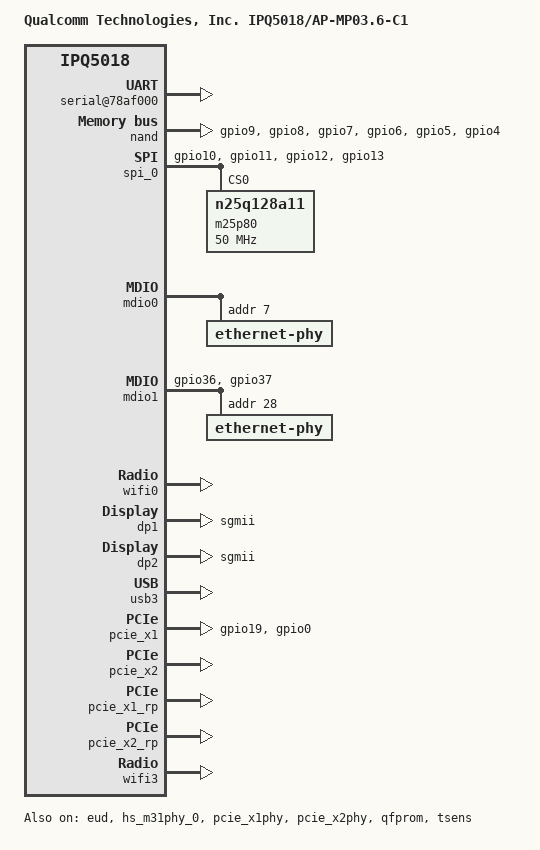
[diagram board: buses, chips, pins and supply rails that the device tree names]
/dts-v1/;
/* Copyright (c) 2018-2020, The Linux Foundation. All rights reserved.
 *
 * Permission to use, copy, modify, and/or distribute this software for any
 * purpose with or without fee is hereby granted, provided that the above
 * copyright notice and this permission notice appear in all copies.
 *
 * THE SOFTWARE IS PROVIDED "AS IS" AND THE AUTHOR DISCLAIMS ALL WARRANTIES
 * WITH REGARD TO THIS SOFTWARE INCLUDING ALL IMPLIED WARRANTIES OF
 * MERCHANTABILITY AND FITNESS. IN NO EVENT SHALL THE AUTHOR BE LIABLE FOR
 * ANY SPECIAL, DIRECT, INDIRECT, OR CONSEQUENTIAL DAMAGES OR ANY DAMAGES
 * WHATSOEVER RESULTING FROM LOSS OF USE, DATA OR PROFITS, WHETHER IN AN
 * ACTION OF CONTRACT, NEGLIGENCE OR OTHER TORTIOUS ACTION, ARISING OUT OF
 * OR IN CONNECTION WITH THE USE OR PERFORMANCE OF THIS SOFTWARE.
 */

#include "qcom-ipq5018.dtsi"

/ {
	#address-cells = <0x2>;
	#size-cells = <0x2>;
	model = "Qualcomm Technologies, Inc. IPQ5018/AP-MP03.6-C1";
	compatible = "qcom,ipq5018-mp03.6-c1", "qcom,ipq5018";
	interrupt-parent = <&intc>;

	aliases {
		sdhc1 = &sdhc_1; /* SDC1 eMMC slot */
		serial0 = &blsp1_uart1;
		serial1 = &blsp1_uart2;
	};

	chosen {
		bootargs = "console=ttyMSM0,115200,n8 rw init=/init";
	#ifdef __IPQ_MEM_PROFILE_256_MB__
		bootargs-append = " swiotlb=1";
	#else
		bootargs-append = " swiotlb=1 coherent_pool=2M";
	#endif
		stdout-path = "serial0";
		ethernet0 = "/soc/dp1";
		ethernet1 = "/soc/dp2";
	};

	reserved-memory {
	#ifdef __IPQ_MEM_PROFILE_256_MB__
	/*            256 MB Profile
	 * +=========+==============+========================+
	 * |        |              |                         |
	 * | Region | Start Offset |          Size           |
	 * |        |              |                         |
	 * +--------+--------------+-------------------------+
	 * |        |              |                         |
	 * |        |              |                         |
	 * |  NSS   |  0x40000000  |          8MB            |
	 * |        |              |                         |
	 * |        |              |                         |
	 * +--------+--------------+-------------------------+
	 * |        |              |                         |
	 * |        |              |                         |
	 * |        |              |                         |
	 * |        |              |                         |
	 * | Linux  |  0x40800000  | Depends on total memory |
	 * |        |              |                         |
	 * |        |              |                         |
	 * |        |              |                         |
	 * +        |              |                         |
	 * +--------+--------------+-------------------------+
	 * |        |              |                         |
	 * | uboot  |  0x4A600000  |           4MB           |
	 * |        |              |                         |
	 * +--------+--------------+-------------------------+
	 * |  SBL   |  0x4AA00000  |           1MB           |
	 * +--------+--------------+-------------------------+
	 * |  smem  |  0x4AB00000  |           1MB           |
	 * +--------+--------------+-------------------------+
	 * |        |              |                         |
	 * |   TZ   |  0x4AC00000  |           4MB           |
	 * |        |              |                         |
	 * +--------+--------------+-------------------------+
	 * |        |              |                         |
	 * |        |              |                         |
	 * |        |              |                         |
	 * |   Q6   |  0x4B000000  |          23MB           |
	 * |        |              |                         |
	 * |        |              |                         |
	 * |        |              |                         |
	 * +--------+--------------+-------------------------+
	 * | M3 Dump| 0x4C700000   |          1MB            |
	 * +--------+--------------+-------------------------+
	 * | QDSS   | 0x4C800000   |          1MB            |
	 * +--------+--------------+-------------------------+
	 * |        |              |                         |
	 * |QCN9000 |  0x4C900000  |          17MB           |
	 * |        |              |                         |
	 * +--------+--------------+-------------------------+
	 * |        |              |                         |
	 * |  MHI1  |  0x4DA00000  |          16MB           |
	 * |        |              |                         |
	 * +--------+--------------+-------------------------+
	 * |                                                 |
	 * |      Rest of the memory for Linux               |
	 * |                                                 |
	 * +=================================================+
	 */
		q6_region: wcnss@4b000000 {
			no-map;
			reg = <0x0 0x4b000000 0x0 0x01700000>;
		};

		m3_dump@4c700000 {
			no-map;
			reg = <0x0 0x4C700000 0x0 0x100000>;
		};

		q6_etr_region:q6_etr_dump@4c800000 {
			no-map;
			reg = <0x0 0x4c800000 0x0 0x100000>;
		};

		qcn9000_pcie0@4c900000 {
			no-map;
			reg = <0x0 0x4C900000 0x0 0x01100000>;
		};

		mhi_region1: dma_pool1@4da00000 {
			compatible = "shared-dma-pool";
			no-map;
			reg = <0x0 0x4da00000 0x0 0x01000000>;
		};
	#else
	/*                      512 MB Profile
	 * +=========+==============+========================+
	 * |        |              |                         |
	 * | Region | Start Offset |          Size           |
	 * |        |              |                         |
	 * +--------+--------------+-------------------------+
	 * |        |              |                         |
	 * |        |              |                         |
	 * |  NSS   |  0x40000000  |          16MB           |
	 * |        |              |                         |
	 * |        |              |                         |
	 * +--------+--------------+-------------------------+
	 * |        |              |                         |
	 * |        |              |                         |
	 * |        |              |                         |
	 * |        |              |                         |
	 * | Linux  |  0x41000000  | Depends on total memory |
	 * |        |              |                         |
	 * |        |              |                         |
	 * |        |              |                         |
	 * |        |              |                         |
	 * +--------+--------------+-------------------------+
	 * |        |              |                         |
	 * | uboot  |  0x4A600000  |           4MB           |
	 * |        |              |                         |
	 * +--------+--------------+-------------------------+
	 * |  SBL   |  0x4AA00000  |           1MB           |
	 * +--------+--------------+-------------------------+
	 * |  smem  |  0x4AB00000  |           1MB           |
	 * +--------+--------------+-------------------------+
	 * |        |              |                         |
	 * |   TZ   |  0x4AC00000  |           4MB           |
	 * |        |              |                         |
	 * +--------+--------------+-------------------------+
	 * |        |              |                         |
	 * |        |              |                         |
	 * |        |              |                         |
	 * |   Q6   |  0x4B000000  |          24MB           |
	 * |        |              |                         |
	 * |        |              |                         |
	 * +--------+--------------+-------------------------+
	 * | M3 Dump|  0x4C800000  |           1MB           |
	 * +--------+--------------+-------------------------+
	 * |  QDSS  |  0x4C900000  |           1MB           |
	 * +--------+--------------+-------------------------+
	 * | caldb  |  0x4CA00000  |           2MB           |
	 * +--------+--------------+-------------------------+
	 * |        |              |                         |
	 * |QCN9000 |  0x4CC00000  |          30MB           |
	 * |        |              |                         |
	 * +--------+--------------+-------------------------+
	 * |        |              |                         |
	 * |  MHI1  |  0x4EA00000  |          16MB           |
	 * |        |              |                         |
	 * +--------+--------------+-------------------------+
	 * |                                                 |
	 * |      Rest of the memory for Linux               |
	 * |                                                 |
	 * +=================================================+
	 */
		q6_region: wcnss@4b000000 {
			no-map;
			reg = <0x0 0x4b000000 0x0 0x01800000>;
		};

		m3_dump@4c800000 {
			no-map;
			reg = <0x0 0x4c800000 0x0 0x100000>;
		};

		q6_etr_region:q6_etr_dump@4c900000 {
			no-map;
			reg = <0x0 0x4c900000 0x0 0x100000>;
		};

		q6_caldb_region:q6_caldb_region@4ca00000 {
			no-map;
			reg = <0x0 0x4ca00000 0x0 0x200000>;
		};

		qcn9000_pcie0@4cc00000 {
			no-map;
			reg = <0x0 0x4CC00000 0x0 0x01E00000>;
		};

		mhi_region1: dma_pool1@4ea00000 {
			compatible = "shared-dma-pool";
			no-map;
			reg = <0x0 0x4ea00000 0x0 0x01000000>;
		};
	#endif
	};

	soc {
		serial@78af000 {
			status = "ok";
		};

		qpic_bam: dma@7984000{
			status = "ok";
		};

		nand: qpic-nand@79b0000 {
			pinctrl-0 = <&qspi_nand_pins>;
			pinctrl-names = "default";
			status = "ok";
		};

		spi_0: spi@78b5000 { /* BLSP1 QUP0 */
			pinctrl-0 = <&blsp0_spi_pins>;
			pinctrl-names = "default";
			cs-select = <0>;
			status = "ok";

			m25p80@0 {
				#address-cells = <1>;
				#size-cells = <1>;
				reg = <0>;
				compatible = "n25q128a11";
				linux,modalias = "m25p80", "n25q128a11";
				spi-max-frequency = <50000000>;
				use-default-sizes;
			};
		};

		mdio0: mdio@88000 {
			status = "ok";

			ethernet-phy@0 {
				reg = <7>;
			};
		};

		mdio1: mdio@90000 {
			status = "ok";
			pinctrl-0 = <&mdio1_pins>;
			pinctrl-names = "default";
			phy-reset-gpio = <&tlmm 39 0>;

			ethernet-phy@0 {
				reg = <28>;
			};
		};

		ess-instance {
			num_devices = <0x1>;
			ess-switch@0x39c00000 {
				switch_mac_mode = <0xf>; /* mac mode for uniphy instance*/
				cmnblk_clk = "internal_96MHz"; /* cmnblk clk*/
				qcom,port_phyinfo {
					port@0 {
						port_id = <1>;
						phy_address = <7>;
						mdiobus = <&mdio0>;
					};
					port@1 {
						port_id = <2>;
						phy_address = <0x1c>;
						mdiobus = <&mdio1>;
						port_mac_sel = "QGMAC_PORT";
					};
				};
				led_source@0 {
					source = <0>;
					mode = "normal";
					speed = "all";
					blink_en = "enable";
					active = "high";
				};
			};
		};

		wifi0: wifi@c000000 {
			status = "ok";
		};

		dp1 {
			device_type = "network";
			compatible = "qcom,nss-dp";
			clocks = <&gcc GCC_SNOC_GMAC0_AXI_CLK>;
			clock-names = "nss-snoc-gmac-axi-clk";
			qcom,id = <1>;
			reg = <0x39C00000 0x10000>;
			interrupts = <GIC_SPI 101 IRQ_TYPE_LEVEL_HIGH>;
			qcom,mactype = <2>;
			qcom,link-poll = <1>;
			qcom,phy-mdio-addr = <7>;
			mdio-bus = <&mdio0>;
			local-mac-address = [000000000000];
			phy-mode = "sgmii";
		};

		dp2 {
			device_type = "network";
			compatible = "qcom,nss-dp";
			clocks = <&gcc GCC_SNOC_GMAC1_AXI_CLK>;
			clock-names = "nss-snoc-gmac-axi-clk";
			qcom,id = <2>;
			reg = <0x39D00000 0x10000>;
			interrupts = <GIC_SPI 109 IRQ_TYPE_LEVEL_HIGH>;
			qcom,mactype = <2>;
			qcom,link-poll = <1>;
			qcom,phy-mdio-addr = <28>;
			mdio-bus = <&mdio1>;
			local-mac-address = [000000000000];
			phy-mode = "sgmii";
		};

		qcom,test@0 {
			status = "ok";
		};

		nss-macsec1 {
			compatible = "qcom,nss-macsec";
			phy_addr = <0x1c>;
			mdiobus = <&mdio1>;
		};

		lpass: lpass@0xA000000{
			status = "disabled";
		};

		pcm: pcm@0xA3C0000{
			pinctrl-0 = <&audio_pins>;
			pinctrl-names = "default";
			status = "disabled";
		};

		pcm_lb: pcm_lb@0 {
			status = "disabled";
		};

	};

	thermal-zones {
		status = "ok";
	};
};

&tlmm {
	pinctrl-0 = <&blsp0_uart_pins &pcie_sdx_gpio>;
	pinctrl-names = "default";

	blsp0_uart_pins: uart_pins {
		blsp0_uart_rx_tx {
			pins = "gpio20", "gpio21";
			function = "blsp0_uart0";
			bias-disable;
		};
	};

	blsp0_spi_pins: blsp0_spi_pins {
		mux {
			pins = "gpio10", "gpio11", "gpio12", "gpio13";
			function = "blsp0_spi";
			drive-strength = <2>;
			bias-disable;
		};
	};

	qspi_nand_pins: qspi_nand_pins {
		qspi_clock {
			pins = "gpio9";
			function = "qspi_clk";
			drive-strength = <8>;
			bias-disable;
		};
		qspi_cs {
			pins = "gpio8";
			function = "qspi_cs";
			drive-strength = <8>;
			bias-disable;
		};
		qspi_data_0 {
			pins = "gpio7";
			function = "qspi0";
			drive-strength = <8>;
			bias-disable;
		};
		qspi_data_1 {
			pins = "gpio6";
			function = "qspi1";
			drive-strength = <8>;
			bias-disable;
		};
		qspi_data_2 {
			pins = "gpio5";
			function = "qspi2";
			drive-strength = <8>;
			bias-disable;
		};
		qspi_data_3 {
			pins = "gpio4";
			function = "qspi3";
			drive-strength = <8>;
			bias-disable;
		};
	};

	mdio1_pins: mdio_pinmux {
		mux_0 {
			pins = "gpio36";
			function = "mdc";
			drive-strength = <8>;
			bias-pull-up;
		};

		mux_1 {
			pins = "gpio37";
			function = "mdio";
			drive-strength = <8>;
			bias-pull-up;
		};
	};

	pcie_sdx_gpio: pcie_sdx_gpio {
		ap2mdm_err_ftl {
			pins = "gpio1";
			function = "gpio";
			drive-strength = <8>;
			bias-pull-down;
		};
		sdx_pon_gpio {
			pins = "gpio26";
			function = "gpio";
			drive-strength = <8>;
			bias-pull-up;
			output-high;
		};
		ap2mdm_gp_rst_n {
			pins = "gpio28";
			function = "gpio";
			drive-strength = <8>;
			output-high;
		};
	};

	ap2mdm_status: ap2mdm_status {
		pins = "gpio25";
		function = "gpio";
		drive-strength = <8>;
		bias-pull-up;
		output-high;
	};

	mdm2ap_e911_status: mdm2ap_e911_status {
		pins = "gpio0";
		drive-strength = <8>;
		bias-pull-down;
	};

	pcie_wake_pins: pcie1_wake_gpio {
		pins = "gpio19";
		function = "pcie1_wake";
		drive-strength = <8>;
		bias-pull-up;
	};

	audio_pins: audio_pinmux {
		mux_1 {
			pins = "gpio24";
			function = "audio_rxbclk";
			drive-strength = <8>;
			bias-pull-down;
		};

		mux_2 {
			pins = "gpio25";
			function = "audio_rxfsync";
			drive-strength = <8>;
			bias-pull-down;
		};

		mux_3 {
			pins = "gpio26";
			function = "audio_rxd";
			drive-strength = <8>;
			bias-pull-down;
		};

		mux_4 {
			pins = "gpio27";
			function = "audio_txmclk";
			drive-strength = <8>;
			bias-pull-down;
		};

		mux_5 {
			pins = "gpio28";
			function = "audio_txbclk";
			drive-strength = <8>;
			bias-pull-down;
		};

		mux_6 {
			pins = "gpio29";
			function = "audio_txfsync";
			drive-strength = <8>;
			bias-pull-down;
		};

		mux_7 {
			pins = "gpio30";
			function = "audio_txd";
			drive-strength = <8>;
			bias-pull-down;
		};
	};

};

&usb3 {
	status = "ok";
	device-power-gpio = <&tlmm 24 1>;
};

&eud {
	status = "ok";
};

&pcie_x1 {
	interrupts-extended = <&intc GIC_SPI 111 IRQ_TYPE_NONE>,
			<&intc 0 416 IRQ_TYPE_NONE>, <&intc 0 417 IRQ_TYPE_NONE>,
			<&intc 0 418 IRQ_TYPE_NONE>, <&intc 0 419 IRQ_TYPE_NONE>,
			<&intc 0 420 IRQ_TYPE_NONE>, <&intc 0 421 IRQ_TYPE_NONE>,
			<&intc 0 422 IRQ_TYPE_NONE>, <&intc 0 423 IRQ_TYPE_NONE>,
			<&intc 0 424 IRQ_TYPE_NONE>, <&intc 0 425 IRQ_TYPE_NONE>,
			<&intc 0 426 IRQ_TYPE_NONE>, <&intc 0 427 IRQ_TYPE_NONE>,
			<&intc 0 428 IRQ_TYPE_NONE>, <&intc 0 429 IRQ_TYPE_NONE>,
			<&intc 0 430 IRQ_TYPE_NONE>, <&intc 0 431 IRQ_TYPE_NONE>,
			<&intc 0 432 IRQ_TYPE_NONE>, <&intc 0 433 IRQ_TYPE_NONE>,
			<&intc 0 434 IRQ_TYPE_NONE>, <&intc 0 435 IRQ_TYPE_NONE>,
			<&intc 0 436 IRQ_TYPE_NONE>, <&intc 0 437 IRQ_TYPE_NONE>,
			<&intc 0 438 IRQ_TYPE_NONE>, <&intc 0 439 IRQ_TYPE_NONE>,
			<&intc 0 440 IRQ_TYPE_NONE>, <&intc 0 441 IRQ_TYPE_NONE>,
			<&intc 0 442 IRQ_TYPE_NONE>, <&intc 0 443 IRQ_TYPE_NONE>,
			<&intc 0 444 IRQ_TYPE_NONE>, <&intc 0 445 IRQ_TYPE_NONE>,
			<&intc 0 446 IRQ_TYPE_NONE>, <&intc 0 447 IRQ_TYPE_NONE>,
			<&tlmm 19 0>, <&tlmm 0 0>;

	interrupt-names = "msi", "msi_0", "msi_1",
			"msi_2", "msi_3", "msi_4",
			"msi_5", "msi_6", "msi_7",
			 "msi_8", "msi_9", "msi_10",
			"msi_11", "msi_12", "msi_13",
			"msi_14", "msi_15", "msi_16",
			"msi_17", "msi_18", "msi_19",
			"msi_20", "msi_21", "msi_22",
			"msi_23", "msi_24", "msi_25",
			"msi_26", "msi_27", "msi_28",
			"msi_29", "msi_30", "msi_31",
			"wake_gpio", "mdm2ap_e911";

	pinctrl-0 = <&pcie_wake_pins &mdm2ap_e911_status>;
	e911-gpio =  <&tlmm 0 GPIO_ACTIVE_HIGH>;
	pinctrl-names = "default";
	status = "ok";
	perst-gpio = <&tlmm 18 1>;
	slot_id = <0>;
};

&pcie_x2 {
	status = "ok";
	perst-gpio = <&tlmm 15 1>;
};

&dwc_0 {
	/delete-property/ #phy-cells;
	/delete-property/ phys;
	/delete-property/ phy-names;
};

&hs_m31phy_0 {
	status = "ok";
};

&pcie_x1phy {
	status = "ok";
};

&pcie_x2phy {
	status = "ok";
};

&pcie_x1_rp {
        status = "ok";
	aliases {
		mhi-netdev0 = &mhi_netdev_0;
		mhi_netdev2 = &mhi_netdev_2;
	};

	mhi_0: qcom,mhi@0 {
		reg = <0 0 0 0 0 >;
		ap2mdm = <25>;
		mdm2ap = <23>;

		pinctrl-0 = <&ap2mdm_status>;
		pinctrl-names = "default";
		/* controller specific configuration */
		qcom,iommu-dma = "disabled";

		/* mhi bus specific settings */
		mhi,max-channels = <110>;
		mhi,timeout = <60000>;
		mhi,ssr-negotiate;

		mhi_channels: mhi_channels {
			#address-cells = <1>;
			#size-cells = <0>;

			mhi_chan@0 {
				reg = <0>;
				label = "LOOPBACK";
				mhi,num-elements = <64>;
				mhi,event-ring = <2>;
				mhi,chan-dir = <1>;
				mhi,data-type = <0>;
				mhi,doorbell-mode = <2>;
				mhi,ee = <0x4>;
			};

			mhi_chan@1 {
				reg = <1>;
				label = "LOOPBACK";
				mhi,num-elements = <64>;
				mhi,event-ring = <2>;
				mhi,chan-dir = <2>;
				mhi,data-type = <0>;
				mhi,doorbell-mode = <2>;
				mhi,ee = <0x4>;
			};

			mhi_chan@2 {
				reg = <2>;
				label = "SAHARA";
				mhi,num-elements = <128>;
				mhi,event-ring = <1>;
				mhi,chan-dir = <1>;
				mhi,data-type = <0>;
				mhi,doorbell-mode = <2>;
				mhi,ee = <0x2>;
			};

			mhi_chan@3 {
				reg = <3>;
				label = "SAHARA";
				mhi,num-elements = <128>;
				mhi,event-ring = <1>;
				mhi,chan-dir = <2>;
				mhi,data-type = <0>;
				mhi,doorbell-mode = <2>;
				mhi,ee = <0x2>;
			};

			mhi_chan@4 {
				reg = <4>;
				label = "DIAG";
				mhi,num-elements = <64>;
				mhi,event-ring = <1>;
				mhi,chan-dir = <1>;
				mhi,data-type = <0>;
				mhi,doorbell-mode = <2>;
				mhi,ee = <0x4>;
			};

			mhi_chan@5 {
				reg = <5>;
				label = "DIAG";
				mhi,num-elements = <64>;
				mhi,event-ring = <3>;
				mhi,chan-dir = <2>;
				mhi,data-type = <0>;
				mhi,doorbell-mode = <2>;
				mhi,ee = <0x4>;
			};

			mhi_chan@14 {
				reg = <14>;
				label = "QMI0";
				mhi,num-elements = <64>;
				mhi,event-ring = <1>;
				mhi,chan-dir = <1>;
				mhi,data-type = <0>;
				mhi,doorbell-mode = <2>;
				mhi,ee = <0x4>;
			};

			mhi_chan@15 {
				reg = <15>;
				label = "QMI0";
				mhi,num-elements = <64>;
				mhi,event-ring = <2>;
				mhi,chan-dir = <2>;
				mhi,data-type = <0>;
				mhi,doorbell-mode = <2>;
				mhi,ee = <0x4>;
			};

			mhi_chan@16 {
				reg = <16>;
				label = "QMI1";
				mhi,num-elements = <64>;
				mhi,event-ring = <3>;
				mhi,chan-dir = <1>;
				mhi,data-type = <0>;
				mhi,doorbell-mode = <2>;
				mhi,ee = <0x4>;
			};

			mhi_chan@17 {
				reg = <17>;
				label = "QMI1";
				mhi,num-elements = <64>;
				mhi,event-ring = <3>;
				mhi,chan-dir = <2>;
				mhi,data-type = <0>;
				mhi,doorbell-mode = <2>;
				mhi,ee = <0x4>;
			};

			mhi_chan@18 {
				reg = <18>;
				label = "IP_CTRL";
				mhi,num-elements = <64>;
				mhi,event-ring = <1>;
				mhi,chan-dir = <1>;
				mhi,data-type = <0>;
				mhi,doorbell-mode = <2>;
				mhi,ee = <0x4>;
			};

			mhi_chan@19 {
				reg = <19>;
				label = "IP_CTRL";
				mhi,num-elements = <64>;
				mhi,event-ring = <1>;
				mhi,chan-dir = <2>;
				mhi,data-type = <0>;
				mhi,doorbell-mode = <2>;
				mhi,ee = <0x4>;
				mhi,auto-queue;
			};

			mhi_chan@20 {
				reg = <20>;
				label = "IPCR";
				mhi,num-elements = <64>;
				mhi,event-ring = <2>;
				mhi,chan-dir = <1>;
				mhi,data-type = <1>;
				mhi,doorbell-mode = <2>;
				mhi,ee = <0x4>;
				mhi,auto-start;
			};

			mhi_chan@21 {
				reg = <21>;
				label = "IPCR";
				mhi,num-elements = <64>;
				mhi,event-ring = <2>;
				mhi,chan-dir = <2>;
				mhi,data-type = <0>;
				mhi,doorbell-mode = <2>;
				mhi,ee = <0x4>;
				mhi,auto-queue;
				mhi,auto-start;
			};

			mhi_chan@46 {
				reg = <46>;
				label = "IP_SW0";
				mhi,num-elements = <512>;
				mhi,event-ring = <4>;
				mhi,chan-dir = <1>;
				mhi,data-type = <1>;
				mhi,doorbell-mode = <2>;
				mhi,ee = <0x4>;
			};

			mhi_chan@47 {
				reg = <47>;
				label = "IP_SW0";
				mhi,num-elements = <512>;
				mhi,event-ring = <5>;
				mhi,chan-dir = <2>;
				mhi,data-type = <4>;
				mhi,doorbell-mode = <2>;
				mhi,ee = <0x4>;
			};

			mhi_chan@100 {
				reg = <100>;
				label = "IP_HW0";
				mhi,num-elements = <512>;
				mhi,event-ring = <6>;
				mhi,chan-dir = <1>;
				mhi,data-type = <1>;
				mhi,doorbell-mode = <3>;
				mhi,ee = <0x4>;
				mhi,db-mode-switch;
			};

			mhi_chan@101 {
				reg = <101>;
				label = "IP_HW0";
				mhi,num-elements = <512>;
				mhi,event-ring = <7>;
				mhi,chan-dir = <2>;
				mhi,data-type = <4>;
				mhi,doorbell-mode = <3>;
				mhi,ee = <0x4>;
			};

			mhi_chan@102 {
				reg = <102>;
				label = "IP_HW_ADPL";
				mhi,event-ring = <8>;
				mhi,chan-dir = <2>;
				mhi,data-type = <3>;
				mhi,ee = <0x4>;
				mhi,offload-chan;
				mhi,lpm-notify;
			};

			mhi_chan@105 {
				reg = <105>;
				label = "RMNET_CTL";
				mhi,num-elements = <128>;
				mhi,event-ring = <10>;
				mhi,chan-dir = <1>;
				mhi,data-type = <1>;
				mhi,doorbell-mode = <2>;
				mhi,ee = <0x4>;
			};

			mhi_chan@106 {
				reg = <106>;
				label = "RMNET_CTL";
				mhi,num-elements = <128>;
				mhi,event-ring = <11>;
				mhi,chan-dir = <2>;
				mhi,data-type = <0>;
				mhi,doorbell-mode = <2>;
				mhi,ee = <0x4>;
			};

		};

		mhi_events: mhi_events {
			#address-cells = <1>;
			#size-cells = <0>;

			mhi_event@0 {
				reg = <0>;
				mhi,num-elements = <32>;
				mhi,intmod = <1>;
				mhi,msi = <1>;
				mhi,priority = <1>;
				mhi,brstmode = <2>;
				mhi,data-type = <1>;
			};

			mhi_event@1 {
				mhi,num-elements = <256>;
				mhi,intmod = <1>;
				mhi,msi = <2>;
				mhi,priority = <1>;
				mhi,brstmode = <2>;
			};

			mhi_event@2 {
				mhi,num-elements = <256>;
				mhi,intmod = <1>;
				mhi,msi = <3>;
				mhi,priority = <1>;
				mhi,brstmode = <2>;
			};

			mhi_event@3 {
				mhi,num-elements = <256>;
				mhi,intmod = <1>;
				mhi,msi = <4>;
				mhi,priority = <1>;
				mhi,brstmode = <2>;
			};

			mhi_event@4 {
				mhi,num-elements = <1024>;
				mhi,intmod = <5>;
				mhi,msi = <5>;
				mhi,chan = <46>;
				mhi,priority = <1>;
				mhi,brstmode = <2>;
			};

			mhi_event@5 {
				mhi,num-elements = <1024>;
				mhi,intmod = <5>;
				mhi,msi = <6>;
				mhi,chan = <47>;
				mhi,priority = <1>;
				mhi,brstmode = <2>;
				mhi,client-manage;
			};


			mhi_event@6 {
				mhi,num-elements = <1024>;
				mhi,intmod = <5>;
				mhi,msi = <5>;
				mhi,chan = <100>;
				mhi,priority = <1>;
				mhi,brstmode = <3>;
				mhi,hw-ev;
			};

			mhi_event@7 {
				mhi,num-elements = <1024>;
				mhi,intmod = <5>;
				mhi,msi = <6>;
				mhi,chan = <101>;
				mhi,priority = <1>;
				mhi,brstmode = <3>;
				mhi,client-manage;
				mhi,hw-ev;
			};


			mhi_event@8 {
				mhi,num-elements = <0>;
				mhi,intmod = <0>;
				mhi,msi = <0>;
				mhi,chan = <102>;
				mhi,priority = <1>;
				mhi,brstmode = <3>;
				mhi,hw-ev;
				mhi,client-manage;
				mhi,offload;
			};

			mhi_event@9 {
				mhi,num-elements = <1024>;
				mhi,intmod = <5>;
				mhi,msi = <7>;
				mhi,chan = <103>;
				mhi,priority = <1>;
				mhi,brstmode = <2>;
				mhi,hw-ev;
			};

			mhi_event@10 {
				mhi,num-elements = <1024>;
				mhi,intmod = <1>;
				mhi,msi = <8>;
				mhi,chan = <105>;
				mhi,priority = <0>;
				mhi,brstmode = <2>;
				mhi,hw-ev;
			};

			mhi_event@11 {
				mhi,num-elements = <1024>;
				mhi,intmod = <0>;
				mhi,msi = <9>;
				mhi,chan = <106>;
				mhi,priority = <0>;
				mhi,brstmode = <2>;
				mhi,hw-ev;
			};

			mhi_event@12 {
				mhi,num-elements = <0>;
				mhi,intmod = <0>;
				mhi,msi = <0>;
				mhi,chan = <107>;
				mhi,priority = <1>;
				mhi,brstmode = <3>;
				mhi,hw-ev;
				mhi,client-manage;
				mhi,offload;
			};

			mhi_event@13 {
				mhi,num-elements = <0>;
				mhi,intmod = <0>;
				mhi,msi = <0>;
				mhi,chan = <108>;
				mhi,priority = <1>;
				mhi,brstmode = <3>;
				mhi,hw-ev;
				mhi,client-manage;
				mhi,offload;
			};
		};

		mhi_devices: mhi_devices {
			#address-cells = <1>;
			#size-cells = <0>;

			mhi_netdev_0: mhi_rmnet@0 {
				reg = <0x0>;
				mhi,chan = "IP_HW0";
				mhi,interface-name = "rmnet_mhi";
				mhi,mru = <0x4000>;
				mhi,chain-skb;
			};

			mhi_rmnet@1 {
				reg = <0x1>;
				mhi,chan = "IP_HW0_RSC";
				mhi,mru = <0x8000>;
				mhi,rsc-parent = <&mhi_netdev_0>;
			};

			mhi_netdev_2: mhi_rmnet@2 {
				reg = <0x2>;
				mhi,chan = "IP_SW0";
				mhi,interface-name = "rmnet_mhi_sw";
				mhi,mru = <0x4000>;
				mhi,disable-chain-skb;
			};

			mhi_qrtr {
				mhi,chan = "IPCR";
				qcom,net-id = <3>;
			};
		};
	};
};

&pcie_x2_rp {
        status = "ok";

	mhi_1: qcom,mhi@1 {
		reg = <0 0 0 0 0 >;
		qrtr_instance_id = <0x20>;
		#address-cells = <0x2>;
		#size-cells = <0x2>;
		memory-region = <&mhi_region1>;
	};
};


&qfprom {
	status = "ok";
};

&tsens {
	status = "ok";
};

&qcom_q6v5_wcss {
	#ifdef __IPQ_MEM_PROFILE_256_MB__
		memory-region = <&q6_region>, <&q6_etr_region>;
	#else
		memory-region = <&q6_region>, <&q6_etr_region>,
				<&q6_caldb_region>;
	#endif
};

&qgic_msi_0 {
	status = "ok";
};

&wifi0 {
	/* IPQ5018 */
	qcom,bdf-addr = <0x4BA00000 0x4BA00000 0x4BA00000
		0x0 0x0>;
	qcom,caldb-addr = <0x4CA00000 0x4CA00000 0x0 0x0 0x0>;
	qcom,caldb-size = <0x200000>;
	qcom,board_id = <0x23>;
	status = "ok";
};

&wifi3 {
	/* QCN9000 6G */
	compatible = "qcom,cnss-qcn9000";
	board_id = <0xa0>;
	status = "ok";
};
